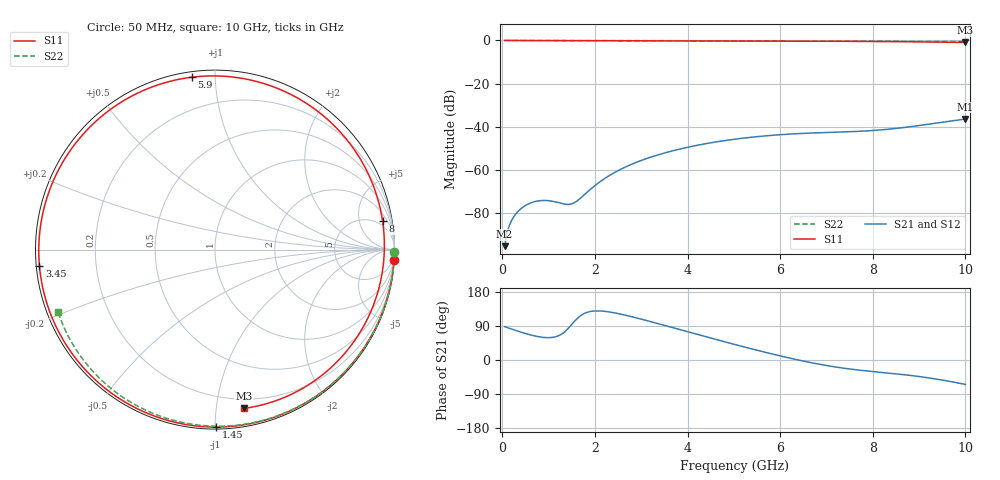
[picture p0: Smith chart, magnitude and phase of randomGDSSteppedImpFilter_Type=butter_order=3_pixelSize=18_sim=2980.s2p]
! freq	dB(S11)	phase(S11)	dB(S12)	phase(S12)
!  dB(S21)	phase(S21)	dB(S22)	phase(S22)
!S-par simulation data
#  GHz  S  DB  R 50
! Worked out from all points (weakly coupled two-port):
!   200 points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, 50 MHz to 10 GHz, reference 50 ohm
!   highest |S21| = -36.44 dB at 10 GHz (marker M1); lowest = -95.4 dB at 50 MHz (marker M2)
!   lowest |S11| = -0.9 dB at 10 GHz (marker M3), VSWR 18.88, Z = 6.42 - j59.5 ohm
!   |S11| at or under -10 dB: nowhere
!   |S22| runs from -0.5 to 0.0 dB; largest |S21 - S12| = 0
!   S11 on the Smith chart (normalised r, x): 50 MHz: 0, -34; 1.45 GHz: 0.01, -1.01; 3.45 GHz: 0.01, -0.05; 5.9 GHz: 0.03, +0.87; 8 GHz: 3, +11; 10 GHz: 0.13, -1.19
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0.05  -0.00 -3.4  -95.41 87.9  -95.41 87.9  -0.00 -0.9
0.3  -0.03 -20.2  -80.24 77.5  -80.24 77.5  -0.01 -5.5
0.55  -0.05 -36.6  -75.96 68.2  -75.96 68.2  -0.01 -10.1
0.8  -0.06 -52.4  -74.35 61.1  -74.35 61.1  -0.02 -14.6
1.1  -0.08 -70.3  -74.64 60.0  -74.64 60.0  -0.02 -20.0
1.45  -0.10 -89.6  -76.00 86.9  -76.00 86.9  -0.03 -26.3
1.75  -0.11 -104.9  -71.99 121.5  -71.99 121.5  -0.04 -31.6
2.15  -0.12 -123.5  -64.91 129.1  -64.91 129.1  -0.05 -38.6
2.55  -0.13 -140.5  -59.82 121.2  -59.82 121.2  -0.06 -45.6
2.95  -0.14 -156.3  -56.06 109.4  -56.06 109.4  -0.07 -52.4
3.4  -0.15 -173.0  -52.82 94.8  -52.82 94.8  -0.08 -59.9
3.45  -0.15 -174.8  -52.51 93.1  -52.51 93.1  -0.08 -60.8
4.25  -0.18 157.0  -48.45 66.3  -48.45 66.3  -0.10 -73.8
5.05  -0.22 129.0  -45.72 40.0  -45.72 40.0  -0.13 -86.4
5.9  -0.27 97.7  -43.87 13.7  -43.87 13.7  -0.17 -99.3
6.7  -0.33 66.0  -42.92 -7.8  -42.92 -7.8  -0.22 -111.0
7.4  -0.40 36.3  -42.41 -22.1  -42.41 -22.1  -0.26 -121.1
8  -0.47 9.6  -41.77 -30.5  -41.77 -30.5  -0.31 -129.7
8.35  -0.53 -6.2  -41.14 -34.7  -41.14 -34.7  -0.34 -134.6
8.8  -0.61 -26.5  -40.03 -40.5  -40.03 -40.5  -0.39 -141.0
9.25  -0.71 -46.7  -38.71 -48.0  -38.71 -48.0  -0.44 -147.4
10  -0.92 -79.7  -36.44 -64.5  -36.44 -64.5  -0.52 -158.2
